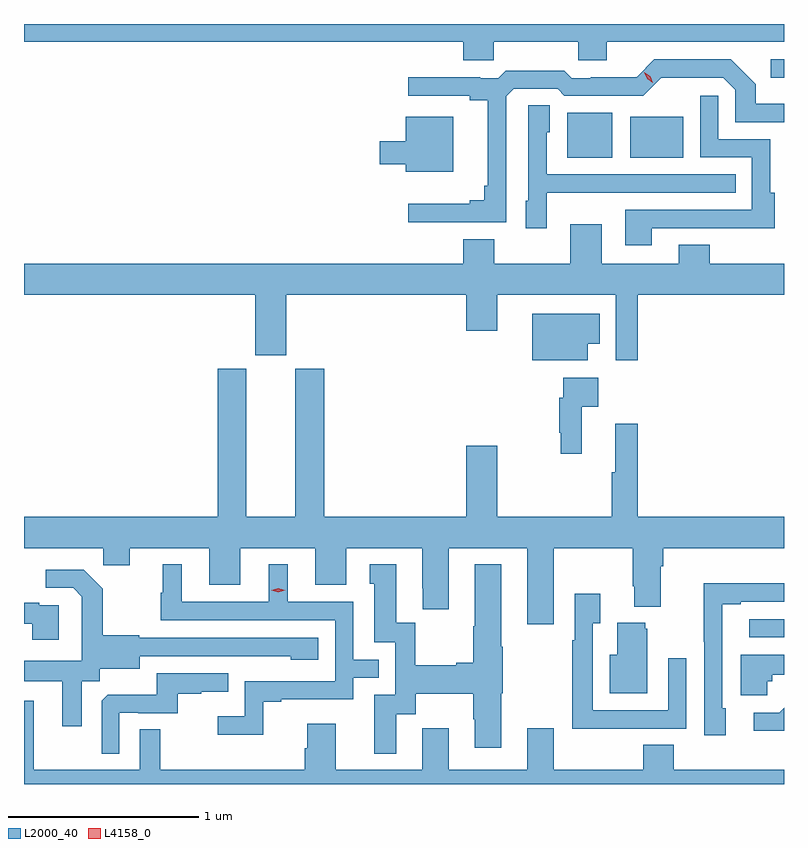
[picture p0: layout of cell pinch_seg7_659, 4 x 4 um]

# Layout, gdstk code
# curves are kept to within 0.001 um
import gdstk
lib = gdstk.Library(unit=1e-6, precision=1e-09)
def R(c, l, rs):  # rectangles x0, y0, x1, y1
    for r in rs: c.add(gdstk.rectangle(r[:2], r[2:], *l))
def P(c, l, *ps):  # polygons
    for p in ps: c.add(gdstk.Polygon(p, *l))
L2000_40 = (2000, 40)
L4158_0 = (4158, 0)

pinch_seg7_659 = lib.new_cell('pinch_seg7_659')
R(pinch_seg7_659, L2000_40, [(334.329,1017.462,334.513,1017.558), (333.371,1019.987,333.61,1020.223), (333.704,1019.987,333.982,1020.202), (334.443,1020.407,334.513,1020.504)])
P(pinch_seg7_659, L2000_40, [(332.985,1020.596),(333.43,1020.596),(333.43,1020.498),(333.58,1020.498),(333.58,1020.596),(334.513,1020.596),(334.513,1020.69),(330.513,1020.69),(330.513,1020.596),(332.825,1020.596),(332.825,1020.498),(332.985,1020.498)],
  [(333.051,1020.309),(333.09,1020.348),(333.321,1020.348),(333.357,1020.312),(333.771,1020.312),(333.866,1020.407),(334.194,1020.408),(334.257,1020.345),(334.257,1020.174),(334.513,1020.174),(334.513,1020.271),(334.365,1020.271),(334.365,1020.374),(334.234,1020.504),(333.831,1020.504),(333.737,1020.41),(333.496,1020.41),(333.496,1020.405),(333.396,1020.405),(333.357,1020.445),(333.049,1020.445),(333.009,1020.405),(332.915,1020.405),(332.915,1020.41),(332.535,1020.41),(332.535,1020.312),(332.858,1020.312),(332.858,1020.29),(332.954,1020.29),(332.954,1019.839),(332.935,1019.839),(332.935,1019.762),(332.858,1019.762),(332.858,1019.743),(332.535,1019.743),(332.535,1019.646),(333.051,1019.646)],
  [(333.817,1019.616),(334.247,1019.616),(334.247,1019.615),(334.465,1019.615),(334.465,1019.802),(334.44,1019.802),(334.44,1020.084),(334.167,1020.084),(334.167,1020.313),(334.071,1020.313),(334.071,1019.988),(334.344,1019.988),(334.344,1019.712),(333.677,1019.712),(333.677,1019.526),(333.817,1019.526)],
  [(333.264,1019.801),(333.581,1019.801),(333.581,1019.802),(334.259,1019.802),(334.259,1019.898),(333.264,1019.898),(333.264,1020.12),(333.28,1020.12),(333.28,1020.263),(333.168,1020.263),(333.168,1019.76),(333.155,1019.76),(333.155,1019.616),(333.264,1019.616)],
  [(332.773,1020.202),(332.522,1020.202),(332.522,1020.073),(332.385,1020.073),(332.385,1019.951),(332.522,1019.951),(332.522,1019.912),(332.773,1019.912)],
  [(333.743,1019.264),(334.513,1019.264),(334.513,1019.428),(334.123,1019.428),(334.123,1019.527),(333.959,1019.527),(333.959,1019.428),(333.553,1019.428),(333.553,1019.635),(333.389,1019.635),(333.389,1019.428),(332.989,1019.428),(332.989,1019.557),(332.825,1019.557),(332.825,1019.428),(330.513,1019.428),(330.513,1019.264),(331.73,1019.264),(331.73,1018.947),(331.894,1018.947),(331.894,1019.264),(332.84,1019.264),(332.84,1019.076),(333.004,1019.076),(333.004,1019.264),(333.627,1019.264),(333.627,1018.92),(333.743,1018.92)],
  [(333.481,1019.006),(333.542,1019.006),(333.542,1019.164),(333.188,1019.164),(333.188,1018.919),(333.481,1018.919)],
  [(333.301,1017.932),(333.718,1017.932),(333.718,1017.73),(333.725,1017.73),(333.725,1017.623),(333.865,1017.623),(333.865,1017.836),(333.878,1017.836),(333.878,1017.932),(334.513,1017.932),(334.513,1018.096),(333.743,1018.096),(333.743,1018.585),(333.626,1018.585),(333.626,1018.332),(333.607,1018.332),(333.607,1018.096),(333.004,1018.096),(333.004,1018.471),(332.84,1018.471),(332.84,1018.096),(332.093,1018.096),(332.093,1018.875),(331.94,1018.875),(331.94,1018.096),(331.684,1018.096),(331.684,1018.875),(331.532,1018.875),(331.532,1018.096),(330.513,1018.096),(330.513,1017.932),(330.931,1017.932),(330.931,1017.842),(331.069,1017.842),(331.069,1017.932),(331.487,1017.932),(331.487,1017.738),(331.651,1017.738),(331.651,1017.932),(332.045,1017.932),(332.045,1017.738),(332.209,1017.738),(332.209,1017.932),(332.609,1017.932),(332.609,1017.721),(332.612,1017.721),(332.612,1017.609),(332.749,1017.609),(332.749,1017.932),(333.161,1017.932),(333.161,1017.531),(333.301,1017.531)],
  [(333.449,1018.676),(333.535,1018.676),(333.535,1018.828),(333.351,1018.828),(333.351,1018.724),(333.331,1018.724),(333.331,1018.54),(333.339,1018.54),(333.339,1018.428),(333.449,1018.428)],
  [(331.773,1017.123),(331.867,1017.123),(331.867,1017.135),(332.247,1017.135),(332.247,1017.249),(332.381,1017.249),(332.381,1017.345),(332.247,1017.345),(332.247,1017.648),(331.9,1017.648),(331.9,1017.847),(331.802,1017.847),(331.802,1017.648),(331.342,1017.648),(331.342,1017.847),(331.244,1017.847),(331.244,1017.696),(331.233,1017.696),(331.233,1017.552),(332.151,1017.552),(332.151,1017.231),(331.674,1017.231),(331.674,1017.046),(331.533,1017.046),(331.533,1016.948),(331.773,1016.948)],
  [(332.473,1017.058),(332.575,1017.058),(332.575,1017.164),(332.878,1017.164),(332.878,1017.03),(332.885,1017.03),(332.885,1016.88),(333.025,1016.88),(333.025,1017.168),(333.033,1017.168),(333.033,1017.412),(333.025,1017.412),(333.025,1017.847),(332.885,1017.847),(332.885,1017.521),(332.878,1017.521),(332.878,1017.329),(332.789,1017.329),(332.789,1017.316),(332.571,1017.316),(332.571,1017.539),(332.473,1017.539),(332.473,1017.847),(332.333,1017.847),(332.333,1017.744),(332.357,1017.744),(332.357,1017.435),(332.466,1017.435),(332.466,1017.159),(332.357,1017.159),(332.357,1016.85),(332.473,1016.85)],
  [(330.817,1017.232),(330.912,1017.232),(330.912,1017.296),(331.123,1017.296),(331.123,1017.363),(331.917,1017.362),(331.917,1017.344),(332.062,1017.344),(332.062,1017.459),(331.119,1017.459),(331.119,1017.472),(330.927,1017.472),(330.927,1017.717),(330.827,1017.817),(330.627,1017.817),(330.627,1017.723),(330.771,1017.723),(330.818,1017.676),(330.818,1017.581),(330.816,1017.581),(330.816,1017.34),(330.513,1017.34),(330.513,1017.23),(330.713,1017.23),(330.713,1016.994),(330.817,1016.994)],
  [(334.207,1017.09),(334.188,1017.09),(334.188,1017.636),(334.285,1017.636),(334.285,1017.648),(334.513,1017.648),(334.513,1017.746),(334.09,1017.746),(334.09,1017.439),(334.092,1017.439),(334.092,1016.946),(334.207,1016.946)],
  [(333.683,1016.982),(333.999,1016.982),(333.999,1017.352),(333.903,1017.352),(333.903,1017.078),(333.507,1017.078),(333.507,1017.535),(333.547,1017.535),(333.547,1017.691),(333.411,1017.691),(333.411,1017.446),(333.399,1017.446),(333.399,1016.981),(333.683,1016.981)],
  [(330.697,1017.63),(330.593,1017.63),(330.593,1017.643),(330.513,1017.643),(330.513,1017.534),(330.557,1017.534),(330.557,1017.45),(330.697,1017.45)],
  [(333.793,1017.507),(333.782,1017.507),(333.782,1017.538),(333.635,1017.538),(333.635,1017.37),(333.596,1017.37),(333.596,1017.167),(333.793,1017.167)],
  [(334.425,1017.231),(334.452,1017.231),(334.452,1017.266),(334.513,1017.266),(334.513,1017.37),(334.286,1017.37),(334.286,1017.158),(334.425,1017.158)],
  [(331.014,1017.066),(331.114,1017.066),(331.114,1017.063),(331.322,1017.063),(331.322,1017.165),(331.445,1017.165),(331.445,1017.176),(331.589,1017.176),(331.589,1017.273),(331.212,1017.273),(331.212,1017.161),(330.953,1017.161),(330.921,1017.129),(330.921,1016.849),(331.014,1016.849)],
  [(332.609,1016.983),(332.609,1016.764),(332.155,1016.764),(332.155,1017.007),(332.003,1017.007),(332.003,1016.877),(331.991,1016.877),(331.991,1016.764),(331.231,1016.764),(331.231,1016.978),(331.122,1016.978),(331.122,1016.764),(330.565,1016.764),(330.565,1017.127),(330.513,1017.127),(330.513,1016.69),(334.513,1016.69),(334.513,1016.764),(333.932,1016.764),(333.932,1016.897),(333.772,1016.897),(333.772,1016.764),(333.301,1016.764),(333.301,1016.983),(333.161,1016.983),(333.161,1016.764),(332.749,1016.764),(332.749,1016.983)],
  [(334.513,1017.092),(334.487,1017.066),(334.353,1017.066),(334.353,1016.969),(334.513,1016.969)])
P(pinch_seg7_659, L4158_0, [(331.851,1017.7),(331.815,1017.709),(331.815,1017.709),(331.815,1017.71),(331.851,1017.72),(331.887,1017.711),(331.887,1017.711),(331.887,1017.711)],
  [(333.823,1020.381),(333.792,1020.402),(333.777,1020.436),(333.777,1020.437),(333.778,1020.437),(333.808,1020.415),(333.823,1020.381),(333.823,1020.381)])

lib.write_gds('pinch_seg7_659.gds')
